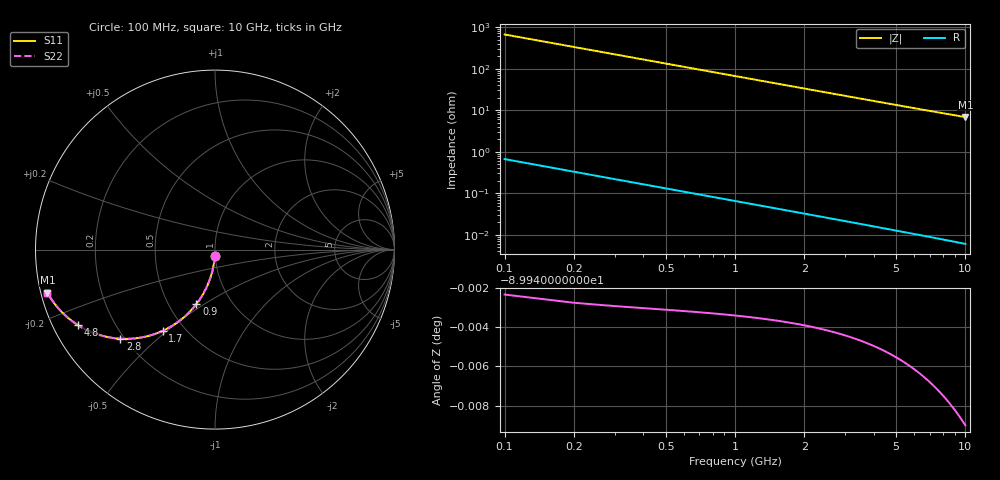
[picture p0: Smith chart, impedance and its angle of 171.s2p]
# Hz S RI R 50.00
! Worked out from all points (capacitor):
!   100 points, 100 MHz to 10 GHz, reference 50 ohm
!   read as one part in shunt: C = 2.4 pF near 100 MHz
!   lowest |Z| = 6.82 ohm at 10 GHz (marker M1)
!   S11 on the Smith chart (normalised r, x): 100 MHz: 0.99, -0.07; 900 MHz: 0.68, -0.46; 1.7 GHz: 0.38, -0.48; 2.8 GHz: 0.18, -0.39; 4.8 GHz: 0.07, -0.25; 10 GHz: 0.02, -0.13
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1e8  -0.00143 -0.0376  0.9985 -0.0378  0.9985 -0.0378  -0.00143 -0.0376
2e8  -0.00571 -0.0749  0.9942 -0.0752  0.9942 -0.0752  -0.00571 -0.0749
3e8  -0.0127 -0.1115  0.9872 -0.112  0.9872 -0.112  -0.0127 -0.1115
4e8  -0.0224 -0.1472  0.9776 -0.1478  0.9776 -0.1478  -0.0224 -0.1472
5e8  -0.0345 -0.1817  0.9654 -0.1825  0.9654 -0.1825  -0.0345 -0.1817
6e8  -0.0489 -0.2148  0.951 -0.2157  0.951 -0.2157  -0.0489 -0.2148
7e8  -0.0654 -0.2462  0.9346 -0.2473  0.9346 -0.2473  -0.0654 -0.2462
9e8  -0.1036 -0.3036  0.8964 -0.305  0.8964 -0.305  -0.1036 -0.3036
1.1e9  -0.1471 -0.3529  0.8528 -0.3546  0.8528 -0.3546  -0.1471 -0.3529
1.3e9  -0.1941 -0.394  0.8059 -0.396  0.8059 -0.396  -0.1941 -0.394
1.7e9  -0.2915 -0.4526  0.7085 -0.4553  0.7085 -0.4553  -0.2915 -0.4526
1.8e9  -0.3156 -0.4629  0.6844 -0.4657  0.6844 -0.4657  -0.3156 -0.4629
2.3e9  -0.4292 -0.4927  0.5707 -0.4963  0.5707 -0.4963  -0.4292 -0.4927
2.8e9  -0.5269 -0.4966  0.473 -0.501  0.473 -0.501  -0.5269 -0.4966
3.4e9  -0.6213 -0.4819  0.3786 -0.4872  0.3786 -0.4872  -0.6213 -0.4819
4.1e9  -0.7045 -0.4526  0.2954 -0.459  0.2954 -0.459  -0.7045 -0.4526
4.8e9  -0.7655 -0.4194  0.2344 -0.4269  0.2344 -0.4269  -0.7655 -0.4194
5.1e9  -0.7866 -0.4052  0.2134 -0.4132  0.2134 -0.4132  -0.7866 -0.4052
5.8e9  -0.8265 -0.3735  0.1734 -0.3827  0.1734 -0.3827  -0.8265 -0.3735
6.7e9  -0.8641 -0.3369  0.1358 -0.3474  0.1358 -0.3474  -0.8641 -0.3369
8.4e9  -0.9091 -0.2802  0.0908 -0.2936  0.0908 -0.2936  -0.9091 -0.2802
1e10  -0.9342 -0.2393  0.0656 -0.2553  0.0656 -0.2553  -0.9342 -0.2393
